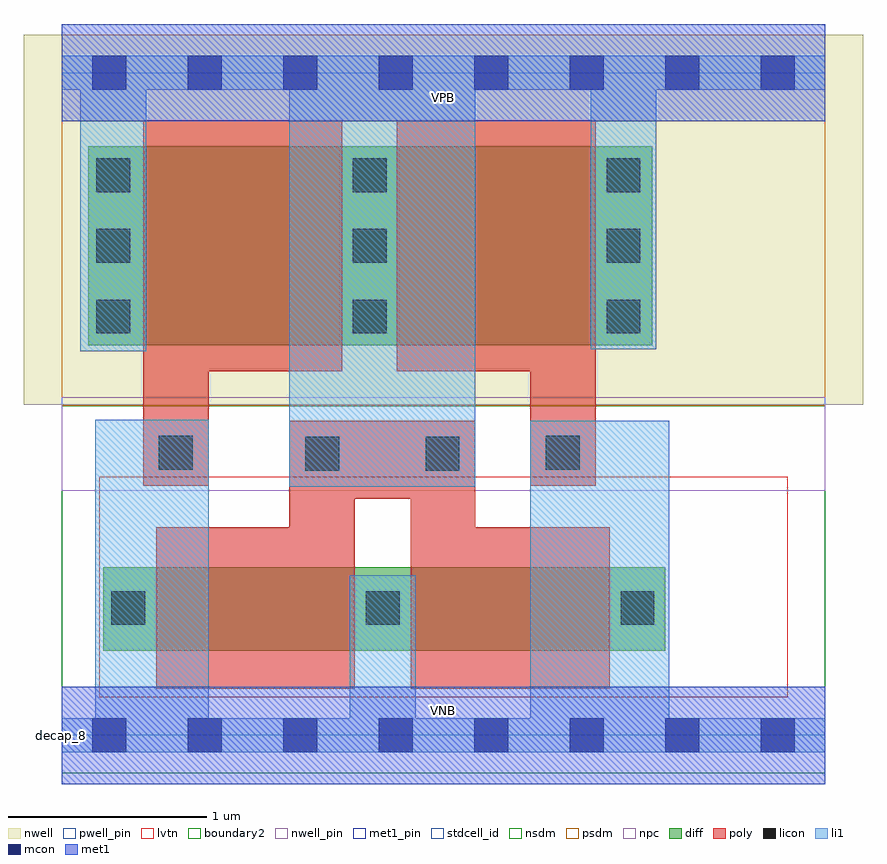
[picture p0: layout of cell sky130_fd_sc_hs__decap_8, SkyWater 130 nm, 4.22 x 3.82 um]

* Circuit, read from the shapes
.subckt sky130_fd_sc_hs__decap_8 VGND VNB VPB VPWR
XM1 VGND VPWR VGND VNB sky130_fd_pr__nfet_01v8_lvt w=0.42 l=1 m=2
XM2 VPWR VGND VPWR VPB sky130_fd_pr__pfet_01v8 w=1 l=1 m=2
.ends

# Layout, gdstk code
import gdstk
lib = gdstk.Library(unit=1e-6, precision=1e-09)
def R(c, l, rs):  # rectangles x0, y0, x1, y1
    for r in rs: c.add(gdstk.rectangle(r[:2], r[2:], *l))
def A(c, l, x, y, w, h, nx, ny, dx, dy):  # array of equal rectangles
    R(c, l, [(x+i*dx, y+j*dy, x+i*dx+w, y+j*dy+h) for i in range(nx) for j in range(ny)])
def P(c, l, *ps):  # polygons
    for p in ps: c.add(gdstk.Polygon(p, *l))
nwell_pin = (64, 16)
nwell = (64, 20)
diff = (65, 20)
poly = (66, 20)
licon = (66, 44)
li1 = (67, 20)
mcon = (67, 44)
met1_pin = (68, 16)
met1 = (68, 20)
stdcell_id = (81, 4)
nsdm = (93, 44)
psdm = (94, 20)
npc = (95, 20)
pwell_pin = (122, 16)
lvtn = (125, 44)
boundary2 = (236, 0)

sky130_fd_sc_hs__decap_8 = lib.new_cell('sky130_fd_sc_hs__decap_8')
R(sky130_fd_sc_hs__decap_8, nwell_pin, [(0,3.085,3.84,3.33)])
R(sky130_fd_sc_hs__decap_8, nwell, [(-0.19,1.66,4.03,3.52)])
R(sky130_fd_sc_hs__decap_8, diff, [(0.21,0.425,3.035,0.845), (0.135,1.96,2.97,2.96)])
P(sky130_fd_sc_hs__decap_8, poly, [(1.41,3.09),(0.41,3.09),(0.41,1.255),(0.74,1.255),(0.74,1.83),(1.41,1.83)],
  [(2.685,3.09),(1.685,3.09),(1.685,1.83),(2.355,1.83),(2.355,1.255),(2.685,1.255)],
  [(2.755,1.045),(2.08,1.045),(2.08,1.58),(1.145,1.58),(1.145,1.045),(0.475,1.045),(0.475,0.235),(1.475,0.235),(1.475,1.19),(1.755,1.19),(1.755,0.235),(2.755,0.235)])
A(sky130_fd_sc_hs__decap_8, licon, 0.25, 0.555, 0.17, 0.17, 3, 1, 1.28, 0)
A(sky130_fd_sc_hs__decap_8, licon, 0.175, 2.02, 0.17, 0.17, 1, 3, 0, 0.355)
A(sky130_fd_sc_hs__decap_8, licon, 1.465, 2.02, 0.17, 0.17, 1, 3, 0, 0.355)
A(sky130_fd_sc_hs__decap_8, licon, 2.74, 2.02, 0.17, 0.17, 1, 3, 0, 0.355)
R(sky130_fd_sc_hs__decap_8, licon, [(1.225,1.33,1.395,1.5), (1.83,1.33,2,1.5), (0.49,1.335,0.66,1.505), (2.435,1.335,2.605,1.505)])
P(sky130_fd_sc_hs__decap_8, li1, [(3.84,0.085),(3.055,0.085),(3.055,1.58),(2.355,1.58),(2.355,0.085),(1.78,0.085),(1.78,0.805),(1.45,0.805),(1.45,0.085),(0.74,0.085),(0.74,1.585),(0.17,1.585),(0.17,0.085),(0,0.085),(0,-0.085),(3.84,-0.085)],
  [(3.84,3.415),(0,3.415),(0,3.245),(0.095,3.245),(0.095,1.93),(0.425,1.93),(0.425,3.245),(1.145,3.245),(1.145,1.25),(2.08,1.25),(2.08,3.245),(2.66,3.245),(2.66,1.94),(2.99,1.94),(2.99,3.245),(3.84,3.245)])
A(sky130_fd_sc_hs__decap_8, mcon, 0.155, -0.085, 0.17, 0.17, 8, 2, 0.48, 3.33)
R(sky130_fd_sc_hs__decap_8, met1_pin, [(0,0,3.84,0.245), (0,3.085,3.84,3.33)])
R(sky130_fd_sc_hs__decap_8, met1, [(0,-0.245,3.84,0.245), (0,3.085,3.84,3.575)])
R(sky130_fd_sc_hs__decap_8, stdcell_id, [(0,0,3.84,3.33)])
R(sky130_fd_sc_hs__decap_8, nsdm, [(0,-0.19,3.84,1.655)])
R(sky130_fd_sc_hs__decap_8, psdm, [(0,1.655,3.84,3.52)])
R(sky130_fd_sc_hs__decap_8, npc, [(0,1.23,3.84,1.7)])
R(sky130_fd_sc_hs__decap_8, pwell_pin, [(0,0,3.84,0.245)])
R(sky130_fd_sc_hs__decap_8, lvtn, [(0.19,0.19,3.65,1.3)])
R(sky130_fd_sc_hs__decap_8, boundary2, [(0,0,3.84,3.33)])
sky130_fd_sc_hs__decap_8.add(gdstk.Label('decap_8', (0,0), layer=83, texttype=44))
sky130_fd_sc_hs__decap_8.add(gdstk.Label('VNB', (1.92,0.123), layer=64, texttype=59))
sky130_fd_sc_hs__decap_8.add(gdstk.Label('VPB', (1.92,3.208), layer=64, texttype=5))
sky130_fd_sc_hs__decap_8.add(gdstk.Label('VGND', (1.92,0.123), layer=68, texttype=5))
sky130_fd_sc_hs__decap_8.add(gdstk.Label('VPWR', (1.92,3.208), layer=68, texttype=5))

lib.write_gds('sky130_fd_sc_hs__decap_8.gds')
